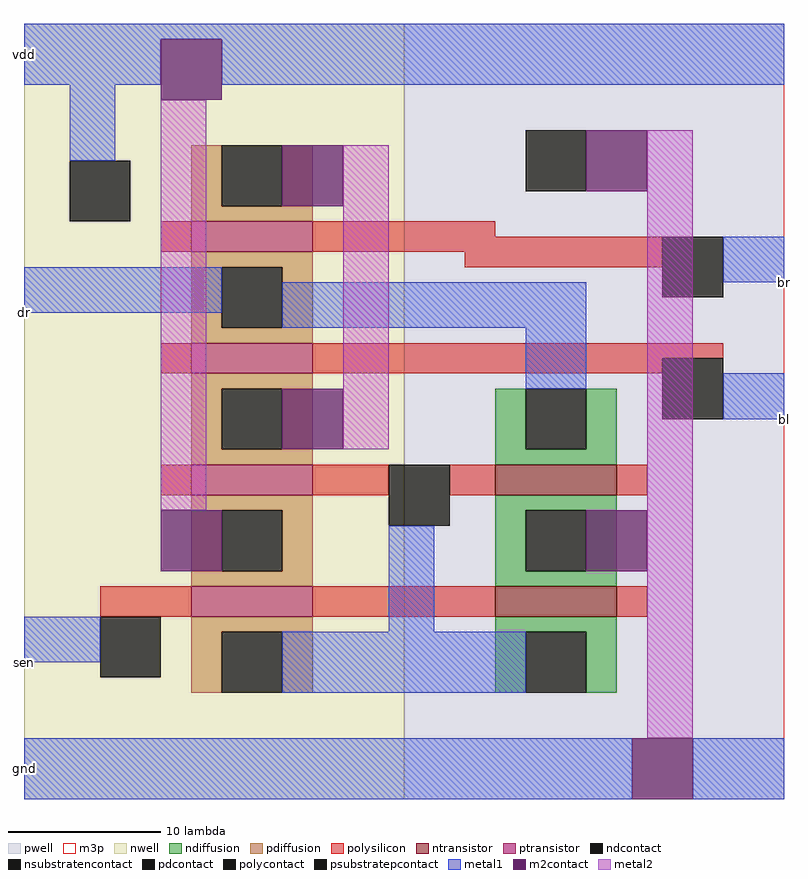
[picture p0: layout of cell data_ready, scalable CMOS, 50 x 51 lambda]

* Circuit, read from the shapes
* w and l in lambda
.subckt data_ready bl br dr gnd sen vdd
M1 gnd sen n1 gnd nfet w=8 l=2
M2 dr n1 gnd gnd nfet w=8 l=2
M3 vdd sen n1 vdd pfet w=8 l=2
M4 n2 n1 vdd vdd pfet w=8 l=2
M5 dr bl n2 vdd pfet w=8 l=2
M6 n2 br dr vdd pfet w=8 l=2
.ends

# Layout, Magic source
magic
tech scmos
<< nwell >>
rect 0 0 25 51
<< pwell >>
rect 25 0 50 51
<< ntransistor >>
rect 31 20 39 22
rect 31 12 39 14
<< ptransistor >>
rect 11 36 19 38
rect 11 28 19 30
rect 11 20 19 22
rect 11 12 19 14
<< ndiffusion >>
rect 31 23 33 27
rect 37 23 39 27
rect 31 22 39 23
rect 31 19 39 20
rect 31 15 33 19
rect 37 15 39 19
rect 31 14 39 15
rect 31 11 39 12
rect 31 7 33 11
rect 37 7 39 11
<< pdiffusion >>
rect 11 39 13 43
rect 17 39 19 43
rect 11 38 19 39
rect 11 35 19 36
rect 11 31 13 35
rect 17 31 19 35
rect 11 30 19 31
rect 11 27 19 28
rect 11 23 13 27
rect 17 23 19 27
rect 11 22 19 23
rect 11 19 19 20
rect 11 15 13 19
rect 17 15 19 19
rect 11 14 19 15
rect 11 11 19 12
rect 11 7 13 11
rect 17 7 19 11
<< ndcontact >>
rect 33 23 37 27
rect 33 15 37 19
rect 33 7 37 11
<< pdcontact >>
rect 13 39 17 43
rect 13 31 17 35
rect 13 23 17 27
rect 13 15 17 19
rect 13 7 17 11
<< psubstratepcontact >>
rect 33 40 37 44
<< nsubstratencontact >>
rect 3 38 7 42
<< polysilicon >>
rect 9 36 11 38
rect 19 37 31 38
rect 19 36 42 37
rect 29 35 42 36
rect 9 28 11 30
rect 19 29 46 30
rect 19 28 42 29
rect 9 20 11 22
rect 19 20 24 22
rect 28 20 31 22
rect 39 20 41 22
rect 5 12 11 14
rect 19 12 31 14
rect 39 12 41 14
<< polycontact >>
rect 42 33 46 37
rect 42 25 46 29
rect 24 18 28 22
rect 5 8 9 12
<< metal1 >>
rect 0 50 50 51
rect 0 47 9 50
rect 3 42 6 47
rect 13 47 50 50
rect 0 32 13 35
rect 17 31 37 34
rect 46 34 50 37
rect 33 27 37 31
rect 46 25 50 28
rect 0 9 5 12
rect 24 11 27 18
rect 17 7 33 11
rect 0 0 40 4
rect 44 0 50 4
<< m2contact >>
rect 9 46 13 50
rect 17 39 21 43
rect 37 40 41 44
rect 17 23 21 27
rect 9 15 13 19
rect 37 15 41 19
rect 40 0 44 4
<< metal2 >>
rect 9 19 12 46
rect 21 23 24 43
rect 41 4 44 44
<< m3p >>
rect 0 0 50 51
<< labels >>
rlabel metal1 0 49 0 49 8 vdd
rlabel metal1 0 2 0 2 6 gnd
rlabel metal1 0 32 0 32 3 dr
rlabel metal1 0 9 0 9 3 sen
rlabel metal1 50 25 50 25 7 bl
rlabel metal1 50 34 50 34 7 br
<< end >>
